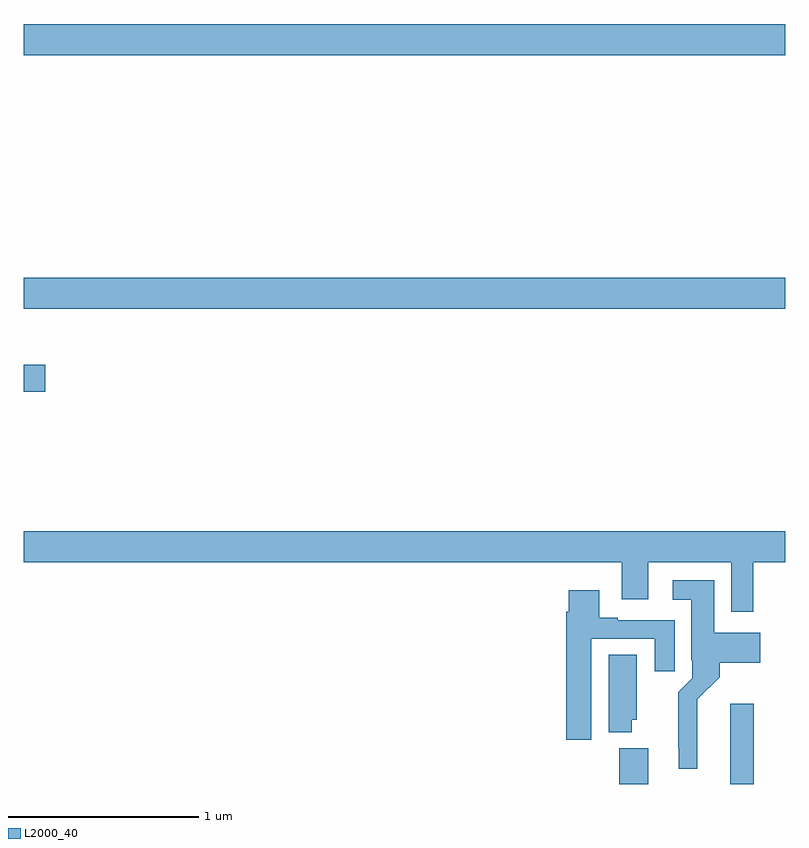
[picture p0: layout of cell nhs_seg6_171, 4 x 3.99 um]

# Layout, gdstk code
import gdstk
lib = gdstk.Library(unit=1e-6, precision=1e-09)
def R(c, l, rs):  # rectangles x0, y0, x1, y1
    for r in rs: c.add(gdstk.rectangle(r[:2], r[2:], *l))
def P(c, l, *ps):  # polygons
    for p in ps: c.add(gdstk.Polygon(p, *l))
L2000_40 = (2000, 40)

nhs_seg6_171 = lib.new_cell('nhs_seg6_171')
R(nhs_seg6_171, L2000_40, [(122.129,951.5,122.281,951.688), (122.711,951.5,122.834,951.922), (119,953.561,119.113,953.703), (119,953.996,123,954.16), (119,955.328,123,955.492)])
P(nhs_seg6_171, L2000_40, [(122.831,952.664),(123,952.664),(123,952.828),(119,952.828),(119,952.664),(122.141,952.664),(122.141,952.47),(122.281,952.47),(122.281,952.664),(122.715,952.664),(122.715,952.404),(122.831,952.404)],
  [(122.539,951.944),(122.657,952.062),(122.657,952.136),(122.869,952.136),(122.869,952.294),(122.626,952.294),(122.626,952.57),(122.409,952.57),(122.409,952.469),(122.507,952.469),(122.507,952.15),(122.511,952.15),(122.511,952.056),(122.437,951.982),(122.437,951.691),(122.441,951.691),(122.441,951.581),(122.539,951.581)],
  [(121.981,952.263),(122.315,952.263),(122.315,952.092),(122.419,952.092),(122.419,952.359),(122.119,952.359),(122.119,952.372),(122.023,952.372),(122.023,952.519),(121.862,952.519),(121.862,952.406),(121.85,952.406),(121.85,951.732),(121.981,951.732)],
  [(122.194,951.837),(122.221,951.837),(122.221,952.178),(122.072,952.178),(122.072,951.773),(122.194,951.773)])

lib.write_gds('nhs_seg6_171.gds')
